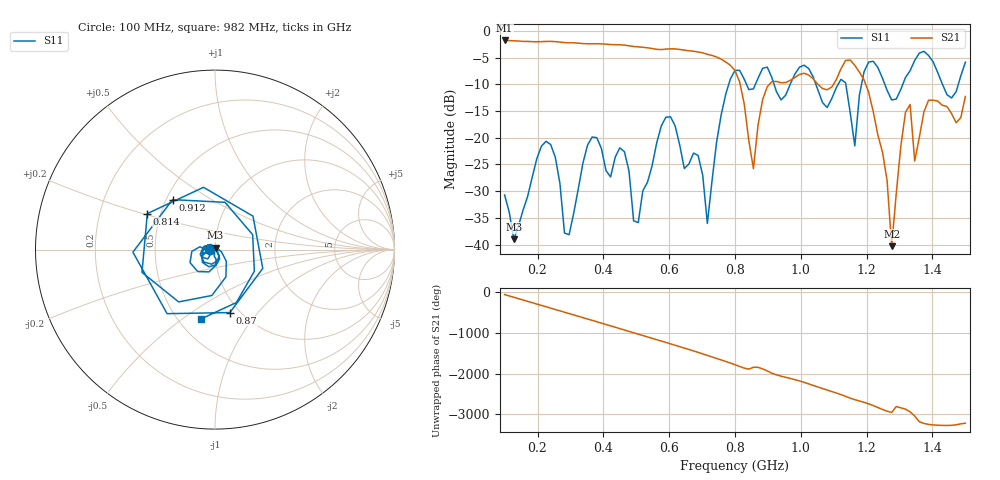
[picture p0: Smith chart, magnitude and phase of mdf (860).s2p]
! NanoVNA-App
! Date: 2025-09-25 15:45:07
! Start: 100MHz Stop: 1,5GHz Points: 101
! S-Parameter data: F S11 S21 S12 S22
# Hz S RI R 50
!  Frequency  S11_Real  S11_Imag  S21_Real  S21_Imag  S12_Real  S12_Imag  S22_Real  S22_Imag
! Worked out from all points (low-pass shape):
!   101 points, 100 MHz to 1.5 GHz, reference 50 ohm
!   highest |S21| = -1.80 dB at 100 MHz (marker M1); lowest = -40.3 dB at 1.276 GHz (marker M2)
!   |S21| within 3 dB of the highest: start of sweep to 739.5 MHz
!   lowest |S11| = -39.0 dB at 128 MHz (marker M3), VSWR 1.02, Z = 50.3 + j1.07 ohm
!   |S11| at or under -10 dB: start of sweep to 781 MHz; 1.046 GHz to 1.114 GHz (67.98 MHz wide, 6.3 % of centre); 1.255 GHz to 1.31 GHz (54.75 MHz wide, 4.27 % of centre)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
!   S12 and S22 are empty: the file has one direction only
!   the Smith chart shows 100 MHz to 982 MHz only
!   S11 on the Smith chart (normalised r, x): 100 MHz: 0.94, -0.01; 814 MHz: 0.42, +0.21; 870 MHz: 0.90, -0.73; 912 MHz: 0.54, +0.35; 982 MHz: 0.64, -0.59
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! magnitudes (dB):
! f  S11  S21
! 100 MHz  -30.7  -1.8
! 128 MHz  -39.0  -1.9
! 212 MHz  -21.6  -2.0
! 282 MHz  -37.9  -2.2
! 338 MHz  -24.7  -2.4
! 464 MHz  -22.6  -2.7
! 506 MHz  -35.9  -3.0
! 576 MHz  -17.8  -3.5
! 716 MHz  -36.1  -4.4
! 800 MHz  -7.4  -7.4
! 814 MHz  -7.4  -9.5
! 856 MHz  -10.9  -25.8
! 870 MHz  -8.9  -17.6
! 912 MHz  -8.7  -9.5
! 982 MHz  -8.1  -8.7
! 1.038 GHz  -8.7  -9.0
! 1.164 GHz  -21.5  -6.5
! 1.192 GHz  -7.7  -9.2
! 1.276 GHz  -12.9  -40.3
! 1.318 GHz  -8.7  -15.2
! 1.346 GHz  -5.5  -24.4
! 1.5 GHz  -5.9  -12.3
